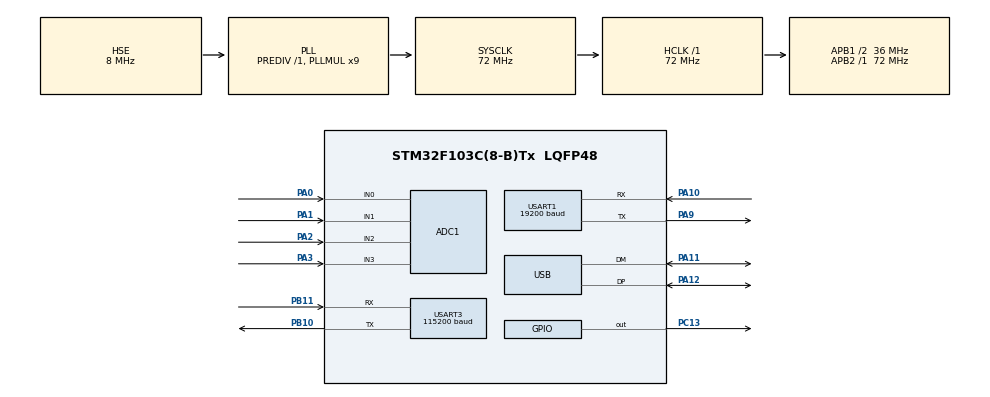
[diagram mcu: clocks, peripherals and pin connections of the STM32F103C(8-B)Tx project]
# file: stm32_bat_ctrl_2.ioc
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ADC1.Channel-0\#ChannelRegularConversion=ADC_CHANNEL_0
ADC1.Channel-1\#ChannelRegularConversion=ADC_CHANNEL_1
ADC1.Channel-2\#ChannelRegularConversion=ADC_CHANNEL_2
ADC1.Channel-3\#ChannelRegularConversion=ADC_CHANNEL_3
ADC1.EnableAnalogWatchDog=false
ADC1.ExternalTrigConv=ADC_SOFTWARE_START
ADC1.NbrOfConversion=4
ADC1.NbrOfConversionFlag=1
ADC1.Rank-0\#ChannelRegularConversion=1
ADC1.Rank-1\#ChannelRegularConversion=2
ADC1.Rank-2\#ChannelRegularConversion=3
ADC1.Rank-3\#ChannelRegularConversion=4
ADC1.SamplingTime-0\#ChannelRegularConversion=ADC_SAMPLETIME_1CYCLE_5
ADC1.SamplingTime-1\#ChannelRegularConversion=ADC_SAMPLETIME_1CYCLE_5
ADC1.SamplingTime-2\#ChannelRegularConversion=ADC_SAMPLETIME_1CYCLE_5
ADC1.SamplingTime-3\#ChannelRegularConversion=ADC_SAMPLETIME_1CYCLE_5
ADC1.master=1
Dma.ADC1.0.Direction=DMA_PERIPH_TO_MEMORY
Dma.ADC1.0.Instance=DMA1_Channel1
Dma.ADC1.0.MemDataAlignment=DMA_MDATAALIGN_HALFWORD
Dma.ADC1.0.MemInc=DMA_MINC_ENABLE
Dma.ADC1.0.Mode=DMA_CIRCULAR
Dma.ADC1.0.PeriphDataAlignment=DMA_PDATAALIGN_HALFWORD
Dma.ADC1.0.PeriphInc=DMA_PINC_DISABLE
Dma.ADC1.0.Priority=DMA_PRIORITY_LOW
Dma.Request0=ADC1
Dma.Request1=USART1_RX
Dma.Request2=USART1_TX
Dma.Request3=USART3_RX
Dma.Request4=USART3_TX
Dma.USART1_RX.1.Direction=DMA_PERIPH_TO_MEMORY
Dma.USART1_RX.1.Instance=DMA1_Channel5
Dma.USART1_RX.1.MemDataAlignment=DMA_MDATAALIGN_BYTE
Dma.USART1_RX.1.MemInc=DMA_MINC_ENABLE
Dma.USART1_RX.1.Mode=DMA_NORMAL
Dma.USART1_RX.1.PeriphDataAlignment=DMA_PDATAALIGN_BYTE
Dma.USART1_RX.1.PeriphInc=DMA_PINC_DISABLE
Dma.USART1_RX.1.Priority=DMA_PRIORITY_LOW
Dma.USART1_TX.2.Direction=DMA_MEMORY_TO_PERIPH
Dma.USART1_TX.2.Instance=DMA1_Channel4
Dma.USART1_TX.2.MemDataAlignment=DMA_MDATAALIGN_BYTE
Dma.USART1_TX.2.MemInc=DMA_MINC_ENABLE
Dma.USART1_TX.2.Mode=DMA_NORMAL
Dma.USART1_TX.2.PeriphDataAlignment=DMA_PDATAALIGN_BYTE
Dma.USART1_TX.2.PeriphInc=DMA_PINC_DISABLE
Dma.USART1_TX.2.Priority=DMA_PRIORITY_LOW
Dma.USART3_RX.3.Direction=DMA_PERIPH_TO_MEMORY
Dma.USART3_RX.3.Instance=DMA1_Channel3
Dma.USART3_RX.3.MemDataAlignment=DMA_MDATAALIGN_BYTE
Dma.USART3_RX.3.MemInc=DMA_MINC_ENABLE
Dma.USART3_RX.3.Mode=DMA_NORMAL
Dma.USART3_RX.3.PeriphDataAlignment=DMA_PDATAALIGN_BYTE
Dma.USART3_RX.3.PeriphInc=DMA_PINC_DISABLE
Dma.USART3_RX.3.Priority=DMA_PRIORITY_LOW
Dma.USART3_TX.4.Direction=DMA_MEMORY_TO_PERIPH
Dma.USART3_TX.4.Instance=DMA1_Channel2
Dma.USART3_TX.4.MemDataAlignment=DMA_MDATAALIGN_BYTE
Dma.USART3_TX.4.MemInc=DMA_MINC_ENABLE
Dma.USART3_TX.4.Mode=DMA_NORMAL
Dma.USART3_TX.4.PeriphDataAlignment=DMA_PDATAALIGN_BYTE
Dma.USART3_TX.4.PeriphInc=DMA_PINC_DISABLE
Dma.USART3_TX.4.Priority=DMA_PRIORITY_LOW
Mcu.Family=STM32F1
Mcu.Name=STM32F103C(8-B)Tx
Mcu.Package=LQFP48
NVIC.DMA1_Channel1_IRQn=true\:0\:0\:false\:false\:true\:false\:true\:true
NVIC.DMA1_Channel2_IRQn=true\:0\:0\:false\:false\:true\:false\:true\:true
NVIC.DMA1_Channel3_IRQn=true\:0\:0\:false\:false\:true\:false\:true\:true
NVIC.DMA1_Channel4_IRQn=true\:0\:0\:false\:false\:true\:false\:true\:true
NVIC.DMA1_Channel5_IRQn=true\:0\:0\:false\:false\:true\:false\:true\:true
NVIC.PriorityGroup=NVIC_PRIORITYGROUP_4
NVIC.TIM2_IRQn=true\:0\:0\:false\:false\:true\:true\:true\:true
NVIC.USB_LP_CAN1_RX0_IRQn=true\:0\:0\:false\:false\:true\:false\:true\:true
PA0-WKUP.Signal=ADCx_IN0
PA1.Signal=ADCx_IN1
PA10.Mode=Asynchronous
PA10.Signal=USART1_RX
PA11.Mode=Device
PA11.Signal=USB_DM
PA12.Mode=Device
PA12.Signal=USB_DP
PA13.Mode=Serial_Wire
PA13.Signal=SYS_JTMS-SWDIO
PA14.Mode=Serial_Wire
PA14.Signal=SYS_JTCK-SWCLK
PA2.Signal=ADCx_IN2
PA3.Signal=ADCx_IN3
PA9.Mode=Asynchronous
PA9.Signal=USART1_TX
PB10.Mode=Asynchronous
PB10.Signal=USART3_TX
PB11.Mode=Asynchronous
PB11.Signal=USART3_RX
PC13-TAMPER-RTC.Signal=GPIO_Output
PD0-OSC_IN.Mode=HSE-External-Oscillator
PD0-OSC_IN.Signal=RCC_OSC_IN
PD1-OSC_OUT.Mode=HSE-External-Oscillator
PD1-OSC_OUT.Signal=RCC_OSC_OUT
ProjectManager.HeapSize=0x200
ProjectManager.StackSize=0x400
ProjectManager.TargetToolchain=STM32CubeIDE
RCC.ADCPresc=RCC_ADCPCLK2_DIV6
RCC.AHBFreq_Value=72000000
RCC.APB1CLKDivider=RCC_HCLK_DIV2
RCC.APB1Freq_Value=36000000
RCC.APB1TimFreq_Value=72000000
RCC.APB2Freq_Value=72000000
RCC.APB2TimFreq_Value=72000000
RCC.HCLKFreq_Value=72000000
RCC.PLLMUL=RCC_PLL_MUL9
RCC.PLLSourceVirtual=RCC_PLLSOURCE_HSE
RCC.SYSCLKFreq_VALUE=72000000
RCC.SYSCLKSource=RCC_SYSCLKSOURCE_PLLCLK
RCC.USBFreq_Value=48000000
RCC.USBPrescaler=RCC_USBCLKSOURCE_PLL_DIV1_5
SH.ADCx_IN0.0=ADC1_IN0,IN0
SH.ADCx_IN1.0=ADC1_IN1,IN1
SH.ADCx_IN2.0=ADC1_IN2,IN2
SH.ADCx_IN3.0=ADC1_IN3,IN3
TIM2.Period=7200
TIM2.Prescaler=10000
USART1.BaudRate=19200
USART1.VirtualMode=VM_ASYNC
USART3.BaudRate=115200
USART3.VirtualMode=VM_ASYNC
USB_DEVICE.CLASS_NAME_FS=CDC
USB_DEVICE.VirtualMode=Cdc
USB_DEVICE.VirtualModeFS=Cdc_FS
VP_CRC_VS_CRC.Mode=CRC_Activate
VP_TIM2_VS_ClockSourceINT.Mode=Internal
VP_USB_DEVICE_VS_USB_DEVICE_CDC_FS.Mode=CDC_FS
board=custom

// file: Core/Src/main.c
/* USER CODE BEGIN Header */
/**
  ******************************************************************************
  * @file           : main.c
  * @brief          : Main program body
  ******************************************************************************
  * @attention
  *
  * Copyright (c) 2022 STMicroelectronics.
  * All rights reserved.
  *
  * This software is licensed under terms that can be found in the LICENSE file
  * in the root directory of this software component.
  * If no LICENSE file comes with this software, it is provided AS-IS.
  *
  ******************************************************************************
  */
/* USER CODE END Header */
#include "main.h"
#include "adc.h"
#include "crc.h"
#include "dma.h"
#include "tim.h"
#include "usart.h"
#include "usb_device.h"
#include "gpio.h"

/* USER CODE BEGIN Includes */
#include "usbd_cdc_if.h"
/* USER CODE END Includes */

/* USER CODE BEGIN PD */
#define MIN 1187
#define MAX 2654
/* USER CODE END PD */

/* USER CODE BEGIN PV */
uint8_t serial_update;
uint16_t temp_in[4];
uint16_t temp_out[4];
uint8_t serial_out[154 + 8 + 8 + 4];
uint8_t serial_in[154 + 8 + 4];
uint16_t TEMP_TABLE[] = {
        1549, 1585, 1621, 1658, 1694, 1730, 1767, 1803, 1840, 1876, 1913, 1949, 1986, 2022, 2059, 2096,
        2132, 2169, 2206, 2242, 2279, 2316, 2353, 2390, 2426, 2463, 2500, 2537, 2574, 2611, 2648, 2685,
        2722, 2759, 2796, 2834, 2871, 2908, 2945, 2982, 3020, 3057, 3094, 3131, 3167, 3203, 3239, 3275,
        3311, 3347, 3383, 3419, 3456, 3492, 3528, 3564, 3600, 3637, 3673, 3709, 3746, 3782, 3818, 3855,
        3891, 3928, 3964, 4001, 4037, 4074, 4111, 4147, 4184, 4220, 4257, 4294, 4331, 4367, 4404, 4441,
        4478, 4515, 4552, 4589, 4626, 4663, 4700, 4737, 4774, 4811, 4848, 4885, 4922, 4960, 4997, 5034,
        5071, 5109, 5146, 5183, 5221, 5258, 5296, 5333, 5371, 5408, 5446, 5483, 5521, 5558, 5596, 5634,
        5671, 5709, 5747, 5785, 5823, 5860, 5898, 5936, 5974, 6012, 6050, 6088, 6126, 6164, 6202, 6240,
        6275, 6310, 6345, 6380, 6415, 6450, 6485, 6519, 6554, 6590, 6625, 6660, 6695, 6730, 6765, 6800,
        6835, 6871, 6906, 6941, 6976, 7012, 7047, 7083, 7118, 7153, 7189, 7224, 7260, 7295, 7331, 7367,
        7402, 7438, 7473, 7509, 7545, 7581, 7616, 7652, 7688, 7724, 7760, 7796, 7832, 7867, 7903, 7939,
        7976, 8012, 8048, 8084, 8120, 8156, 8192, 8228, 8265, 8301, 8337, 8374, 8410, 8446, 8483, 8519,
        8556, 8592, 8629, 8665, 8702, 8738, 8775, 8812, 8848, 8885, 8922, 8958, 8995, 9032, 9069, 9106,
        9143, 9180, 9217, 9253, 9290, 9328, 9364, 9400, 9435, 9470, 9505, 9541, 9576, 9612, 9647, 9682,
        9718, 9753, 9789, 9824, 9860, 9896, 9931, 9967, 10003, 10038, 10074, 10110, 10146, 10181, 10217, 10253,
        10289, 10325, 10361, 10397, 10433, 10469, 10505, 10541, 10577, 10613, 10649, 10686, 10722, 10758, 10794, 10831,
        10867, 10903, 10940, 10976, 11013, 11049, 11085, 11122, 11159, 11195, 11232, 11268, 11305, 11342, 11378, 11415,
        11452, 11489, 11526, 11562, 11599, 11636, 11673, 11710, 11747, 11784, 11821, 11858, 11895, 11932, 11970, 12007,
        12044, 12081, 12119, 12156, 12193, 12231, 12268, 12305, 12343, 12380, 12418, 12455, 12492, 12528, 12564, 12600,
        12636, 12672, 12708, 12744, 12780, 12816, 12852, 12888, 12924, 12960, 12996, 13032, 13069, 13105, 13141, 13177,
        13214, 13250, 13286, 13323, 13359, 13396, 13432, 13469, 13505, 13542, 13579, 13615, 13652, 13689, 13725, 13762,
        13799, 13836, 13872, 13909, 13946, 13983, 14020, 14057, 14094, 14131, 14168, 14205, 14242, 14280, 14317, 14354,
        14391, 14428, 14466, 14503, 14540, 14578, 14615, 14653, 14690, 14728, 14765, 14803, 14840, 14878, 14916, 14953,
        14991, 15029, 15067, 15104, 15142, 15180, 15218, 15256, 15294, 15332, 15370, 15408, 15446, 15484, 15522, 15560,
        15599, 15634, 15670, 15705, 15741, 15776, 15812, 15847, 15883, 15919, 15954, 15990, 16026, 16062, 16097, 16133,
        16169, 16205, 16241, 16277, 16313, 16349, 16385, 16421, 16457, 16493, 16529, 16565, 16601, 16637, 16674, 16710,
        16746, 16783, 16819, 16855, 16892, 16928, 16965, 17001, 17038, 17074, 17111, 17148, 17184, 17221, 17258, 17294,
        17331, 17368, 17405, 17442, 17478, 17515, 17552, 17589, 17626, 17663, 17700, 17738, 17775, 17812, 17849, 17886,
        17923, 17961, 17998, 18035, 18073, 18110, 18148, 18185, 18223, 18260, 18298, 18335, 18373, 18410, 18448, 18486,
        18524, 18561, 18599, 18637, 18675, 18713, 18750, 18786, 18822, 18859, 18895, 18932, 18968, 19005, 19041, 19078,
        19114, 19151, 19188, 19224, 19261, 19298, 19335, 19372, 19409, 19445, 19482, 19519, 19556, 19593, 19630, 19667,
        19705, 19742, 19779, 19816, 19853, 19891, 19928, 19965, 20003, 20040, 20077, 20115, 20152, 20190, 20227, 20265,
        20303, 20340, 20378, 20416, 20453, 20491, 20529, 20567, 20605, 20642, 20680, 20718, 20756, 20794, 20832, 20870,
        20909, 20947, 20985, 21023, 21061, 21100, 21138, 21176, 21215, 21253, 21291, 21330, 21368, 21407, 21446, 21484,
        21523, 21561, 21600, 21639, 21678, 21716, 21755, 21794, 21833, 21870, 21907, 21944, 21981, 22018, 22055, 22092,
        22129, 22166, 22204, 22241, 22278, 22315, 22352, 22390, 22427, 22464, 22502, 22539, 22577, 22614, 22652, 22689,
        22727, 22764, 22802, 22840, 22877, 22915, 22953, 22991, 23029, 23066, 23104, 23142, 23180, 23218, 23256, 23294,
        23333, 23371, 23409, 23447, 23485, 23524, 23562, 23600, 23639, 23677, 23715, 23754, 23792, 23831, 23869, 23908,
        23947, 23985, 24024, 24063, 24102, 24140, 24179, 24218, 24257, 24296, 24335, 24374, 24413, 24452, 24491, 24530,
        24569, 24609, 24648, 24687, 24727, 24766, 24805, 24845, 24884, 24924, 24963, 25001, 25039, 25077, 25116, 25154,
        25192, 25230, 25268, 25307, 25345, 25383, 25422, 25460, 25499, 25537, 25576, 25614, 25653, 25692, 25730, 25769,
        25808, 25847, 25885, 25924, 25963, 26002, 26041, 26080, 26119, 26158, 26197, 26236, 26276, 26315, 26354, 26393,
        26433, 26472, 26511, 26550, 26588, 26627, 26666, 26704, 26743, 26781, 26820, 26859, 26897, 26936, 26975, 27014,
        27053, 27092, 27131, 27170, 27209, 27248, 27287, 27326, 27365, 27404, 27443, 27483, 27522, 27561, 27601, 27640,
        27680, 27719, 27759, 27798, 27838, 27877, 27917, 27957, 27996, 28036, 28076, 28115, 28154, 28193, 28232, 28271,
        28310, 28349, 28388, 28427, 28467, 28506, 28545, 28584, 28624, 28663, 28702, 28742, 28781, 28821, 28860, 28900,
        28940, 28979, 29019, 29059, 29098, 29138, 29178, 29218, 29258, 29298, 29338, 29378, 29418, 29458, 29498, 29538,
        29579, 29619, 29659, 29699, 29740, 29780, 29821, 29861, 29902, 29942, 29983, 30023, 30064, 30105, 30146, 30186,
        30227, 30268, 30309, 30350, 30391, 30432, 30473, 30514, 30555, 30596, 30637, 30679, 30720, 30761, 30803, 30844,
        30885, 30927, 30968, 31010, 31052, 31093, 31135, 31177, 31218, 31257, 31296, 31336, 31375, 31415, 31455, 31494,
        31534, 31573, 31613, 31653, 31693, 31733, 31772, 31812, 31852, 31892, 31932, 31972, 32012, 32053, 32093, 32133,
        32173, 32214, 32254, 32294, 32335, 32375, 32416, 32456, 32497, 32537, 32578, 32619, 32659, 32700, 32741, 32782,
        32823, 32864, 32905, 32946, 32987, 33028, 33069, 33110, 33151, 33192, 33234, 33275, 33316, 33358, 33399, 33441,
        33482, 33524, 33565, 33607, 33649, 33690, 33732, 33774, 33816, 33858, 33900, 33942, 33984, 34026, 34068, 34110,
        34152, 34194, 34236, 34279, 34321, 34362, 34403, 34444, 34485, 34526, 34568, 34609, 34650, 34691, 34733, 34774,
        34815, 34857, 34898, 34940, 34982, 35023, 35065, 35106, 35148, 35190, 35232, 35274, 35316, 35358, 35400, 35442,
        35484, 35526, 35568, 35610, 35652, 35695, 35737, 35779, 35822, 35864, 35907, 35949, 35992, 36034, 36077, 36120,
        36162, 36205, 36248, 36291, 36334, 36377, 36420, 36463, 36506, 36549, 36592, 36636, 36679, 36722, 36765, 36809,
        36852, 36896, 36939, 36983, 37027, 37070, 37114, 37158, 37201, 37245, 37289, 37333, 37377, 37421, 37465, 37507,
        37550, 37593, 37636, 37678, 37721, 37764, 37807, 37850, 37893, 37936, 37980, 38023, 38066, 38109, 38153, 38196,
        38240, 38283, 38327, 38370, 38414, 38457, 38501, 38545, 38589, 38632, 38676, 38720, 38764, 38808, 38852, 38896,
        38941, 38985, 39029, 39073, 39118, 39162, 39206, 39251, 39295, 39340, 39385, 39429, 39474, 39519, 39564, 39608,
        39653, 39698, 39743, 39788, 39833, 39878, 39924, 39969, 40014, 40059, 40105, 40150, 40196, 40241, 40287, 40332,
        40378, 40424, 40470, 40515, 40561, 40605, 40649, 40692, 40736, 40780, 40824, 40867, 40911, 40955, 40999, 41043,
        41087, 41131, 41175, 41220, 41264, 41308, 41353, 41397, 41441, 41486, 41530, 41575, 41620, 41664, 41709, 41754,
        41799, 41844, 41888, 41933, 41978, 42023, 42069, 42114, 42159, 42204, 42249, 42295, 42340, 42386, 42431, 42477,
        42522, 42568, 42614, 42659, 42705, 42751, 42797, 42843, 42889, 42935, 42981, 43027, 43073, 43120, 43166, 43212,
        43259, 43305, 43352, 43398, 43445, 43491, 43538, 43585, 43632, 43679, 43724, 43770, 43816, 43861, 43907, 43953,
        43998, 44044, 44090, 44136, 44182, 44228, 44274, 44321, 44367, 44413, 44459, 44506, 44552, 44599, 44645, 44692,
        44738, 44785, 44832, 44879, 44925, 44972, 45019, 45066, 45113, 45160, 45208, 45255, 45302, 45349, 45397, 45444,
        45492, 45539, 45587, 45634, 45682, 45730, 45777, 45825, 45873, 45921, 45969, 46017, 46065, 46113, 46162, 46210,
        46258, 46307, 46355, 46404, 46452, 46501, 46549, 46598, 46647, 46696, 46745, 46794, 46841, 46888, 46936, 46983,
        47030, 47078, 47125, 47173, 47220, 47268, 47315, 47363, 47411, 47459, 47507, 47555, 47603, 47651, 47699, 47747,
        47795, 47843, 47892, 47940, 47989, 48037, 48086, 48134, 48183, 48232, 48280, 48329, 48378, 48427, 48476, 48525,
        48574, 48623, 48672, 48722, 48771, 48821, 48870, 48919, 48969, 49019, 49068, 49118, 49168, 49218, 49268, 49318,
        49368, 49418, 49468, 49518, 49568, 49619, 49669, 49720, 49770, 49821, 49871, 49922, 49971, 50020, 50069, 50118,
        50167, 50216, 50266, 50315, 50364, 50414, 50463, 50513, 50562, 50612, 50662, 50711, 50761, 50811, 50861, 50911,
        50961, 51011, 51061, 51112, 51162, 51212, 51263, 51313, 51364, 51414, 51465, 51516, 51566, 51617, 51668, 51719,
        51770, 51821, 51872, 51924, 51975, 52026, 52078, 52129, 52181, 52232, 52284, 52336, 52387, 52439, 52491, 52543,
        52595, 52647, 52699, 52751, 52804, 52856, 52908, 52961, 53013, 53066, 53118, 53170, 53223, 53275, 53328, 53380,
        53433, 53485, 53538, 53591, 53644, 53696, 53749, 53802, 53855, 53909, 53962, 54015, 54068, 54122, 54175, 54229,
        54283, 54336, 54390, 54444, 54498, 54552, 54606, 54660, 54714, 54768, 54822, 54877, 54931, 54986, 55040, 55095,
        55150, 55204, 55259, 55314, 55369, 55424, 55479, 55534, 55590, 55645, 55700, 55756, 55811, 55867, 55923, 55978,
        56034, 56090, 56146, 56202, 56258, 56314, 56370, 56427, 56483, 56540, 56596, 56653, 56709, 56766, 56823, 56880,
        56937, 56994, 57051, 57108, 57165, 57223, 57280, 57338, 57395, 57453, 57510, 57568, 57626, 57684, 57742, 57802,
        57863, 57923, 57984, 58044, 58105, 58166, 58226, 58287, 58348, 58409, 58470, 58532, 58593, 58654, 58716, 58777,
        58839, 58901, 58962, 59024, 59086, 59148, 59210, 59272, 59337, 59402, 59468, 59533, 59599, 59665, 59730, 59796,
        59862, 59928, 59995, 60061, 60127, 60194, 60260, 60327, 60394, 60461, 60527, 60594, 60661, 60729, 60796, 60863,
        60931, 60998, 61066, 61134, 61201, 61269, 61337, 61405, 61473, 61542, 61610, 61678, 61747, 61816, 61884, 61953,
        62022, 62091, 62160, 62229, 62299, 62368, 62441, 62522, 62603, 62684, 62765, 62846, 62927, 63009, 63090, 63172,
        63254, 63335, 63417, 63499, 63582, 63664, 63746, 63829, 63912, 63994, 64077, 64160, 64243, 64326, 64410, 64493,
        64577, 64660, 64744, 64828, 64912, 64996, 65080, 65165, 65249, 65334, 65419, 65503
};

/* USER CODE END PV */

void SystemClock_Config(void);

/* USER CODE BEGIN 0 */
void crc_init(void) {
    RCC->AHBENR |= RCC_AHBENR_CRCEN;  // enable clock for CRC
    CRC->CR |= CRC_CR_RESET;   // Reset calculation
}

void serial_transmit() {
    HAL_GPIO_TogglePin(GPIOC, GPIO_PIN_13);
    crc_init();
    int i;
    CRC->CR = 1;
    for (i = 0; i < (154 + 8 + 8); i++) {
        CRC->DR = serial_out[i];
    }
    uint32_t crc[1] = {CRC->DR};
    memcpy(serial_out + 8 + 154 + 8, crc, 4);

    if (!serial_update) memset(serial_out + 8, 0x00, 154 + 8);
    HAL_UART_Transmit(&huart1, serial_out, 154 + 8 + 8 + 4, 100);
    serial_update = 0;
}

void HAL_UART_RxCpltCallback(UART_HandleTypeDef *huart){
    if (huart == &huart3) {
        crc_init();
        uint8_t i;
        CRC->CR = 1;
        for (i = 0; i < (154 + 8); i++) {
            CRC->DR = serial_in[i];
        }
        uint32_t crc[1] = {CRC->DR};

        if (memcmp(crc, serial_in + 154 + 8, 4) == 0) {
            memcpy(serial_out + 8, serial_in, 154 + 8);
        } else {
            memset(serial_out + 8, 0xFF, 154 + 8);
        }

        HAL_UART_Receive_DMA(&huart3, serial_in, 154 + 8 + 4);
        serial_update = 1;
    }
}

void HAL_ADC_ConvCpltCallback(ADC_HandleTypeDef* hadc) {

    //1864
    //1863 1860 1873
    if (temp_in[0] > MAX) temp_out[0] = 0xFFFF;
    else if (temp_in[0] < MIN) temp_out[0] = 0x0000;
    else temp_out[0] =  TEMP_TABLE[temp_in[0] - MIN];

    if (temp_in[1] > MAX) temp_out[1] = 0xFFFF;
    else if (temp_in[1] < MIN) temp_out[1] = 0x0000;
    else temp_out[1] =  TEMP_TABLE[temp_in[1] - MIN];

    if (temp_in[2] > MAX) temp_out[2] = 0xFFFF;
    else if (temp_in[2] < MIN) temp_out[2] = 0x0000;
    else temp_out[2] =  TEMP_TABLE[temp_in[2] - MIN];

    if (temp_in[3] > MAX) temp_out[3] = 0xFFFF;
    else if (temp_in[3] < MIN) temp_out[3] = 0x0000;
    else temp_out[3] =  TEMP_TABLE[temp_in[3] - MIN];
    /*float temp_out[4];
    temp_out[0] =  (float)TEMP_TABLE[temp_in[0] - MIN] / (65535.0f / 210.0f) - 60;
    temp_out[1] =  (float)TEMP_TABLE[temp_in[1] - MIN] / (65535.0f / 210.0f) - 60;
    temp_out[2] =  (float)TEMP_TABLE[temp_in[2] - MIN] / (65535.0f / 210.0f) - 60;
    temp_out[3] =  (float)TEMP_TABLE[temp_in[3] - MIN] / (65535.0f / 210.0f) - 60;*/

    //int l = sprintf(c, "%2.2f %2.2f %2.2f %2.2f\n", temp_out[0], temp_out[1], temp_out[2], temp_out[3]);
    //int l = sprintf(c, "%4d %4d %4d\n", temp_in[0], temp_in[1], temp_in[2]);
    //CDC_Transmit_FS(c, l);
    memcpy(serial_out, temp_out, 8);
    //HAL_UART_Transmit(&huart1, serial_out, 154 + 8 + 8 + 4, 100);

    serial_transmit();

    /*uint8_t c[50];
    int l = sprintf(c, "%4d %4d %4d %4d %4d %4d %4d %4d %4d\n", ((uint16_t)serial_out[1] << 8) | serial_out[0],
                    ((uint16_t)serial_out[3] << 8) | serial_out[2],
                    ((uint16_t)serial_out[5] << 8) | serial_out[4],
                    ((uint16_t)serial_out[7] << 8) | serial_out[6],
                    ((uint16_t)serial_out[9] << 8) | serial_out[8],
                    ((uint16_t)serial_out[11] << 8) | serial_out[10],
                    ((uint16_t)serial_out[13] << 8) | serial_out[12],
                    ((uint16_t)serial_out[15] << 8) | serial_out[14],
                    serial_out[16]);
    CDC_Transmit_FS(c, l);*/
}

void HAL_TIM_PeriodElapsedCallback(TIM_HandleTypeDef* htim)
{
    HAL_ADC_Start_DMA(&hadc1, (uint32_t *) temp_in, 4);
    //HAL_GPIO_TogglePin(GPIOC, GPIO_PIN_13);
}
/* USER CODE END 0 */

int main(void)
{

    /* MCU Configuration--------------------------------------------------------*/

    /* Reset of all peripherals, Initializes the Flash interface and the Systick. */
    HAL_Init();

    /* Configure the system clock */
    SystemClock_Config();

    /* Initialize all configured peripherals */
    MX_GPIO_Init();
    MX_DMA_Init();
    MX_USART1_UART_Init();
    MX_ADC1_Init();
    MX_USART3_UART_Init();
    MX_USB_DEVICE_Init();
    MX_TIM2_Init();
    MX_CRC_Init();
    /* USER CODE BEGIN 2 */
    serial_update = 0;
    HAL_ADCEx_Calibration_Start(&hadc1);
    HAL_GPIO_WritePin(GPIOC, GPIO_PIN_13, GPIO_PIN_RESET);
    HAL_TIM_Base_Start_IT(&htim2);
    HAL_UART_Receive_DMA(&huart3, serial_in, 154 + 8 + 4);

    /* USER CODE END 2 */

    /* Infinite loop */
    while (1)
    {

    }
}

void SystemClock_Config(void)
{
    RCC_OscInitTypeDef RCC_OscInitStruct = {0};
    RCC_ClkInitTypeDef RCC_ClkInitStruct = {0};
    RCC_PeriphCLKInitTypeDef PeriphClkInit = {0};

    /** Initializes the RCC Oscillators according to the specified parameters
    * in the RCC_OscInitTypeDef structure.
    */
    RCC_OscInitStruct.OscillatorType = RCC_OSCILLATORTYPE_HSE;
    RCC_OscInitStruct.HSEState = RCC_HSE_ON;
    RCC_OscInitStruct.HSEPredivValue = RCC_HSE_PREDIV_DIV1;
    RCC_OscInitStruct.HSIState = RCC_HSI_ON;
    RCC_OscInitStruct.PLL.PLLState = RCC_PLL_ON;
    RCC_OscInitStruct.PLL.PLLSource = RCC_PLLSOURCE_HSE;
    RCC_OscInitStruct.PLL.PLLMUL = RCC_PLL_MUL9;
    if (HAL_RCC_OscConfig(&RCC_OscInitStruct) != HAL_OK)
    {
        Error_Handler();
    }

    /** Initializes the CPU, AHB and APB buses clocks
    */
    RCC_ClkInitStruct.ClockType = RCC_CLOCKTYPE_HCLK|RCC_CLOCKTYPE_SYSCLK
                                  |RCC_CLOCKTYPE_PCLK1|RCC_CLOCKTYPE_PCLK2;
    RCC_ClkInitStruct.SYSCLKSource = RCC_SYSCLKSOURCE_PLLCLK;
    RCC_ClkInitStruct.AHBCLKDivider = RCC_SYSCLK_DIV1;
    RCC_ClkInitStruct.APB1CLKDivider = RCC_HCLK_DIV2;
    RCC_ClkInitStruct.APB2CLKDivider = RCC_HCLK_DIV1;

    if (HAL_RCC_ClockConfig(&RCC_ClkInitStruct, FLASH_LATENCY_2) != HAL_OK)
    {
        Error_Handler();
    }
    PeriphClkInit.PeriphClockSelection = RCC_PERIPHCLK_ADC|RCC_PERIPHCLK_USB;
    PeriphClkInit.AdcClockSelection = RCC_ADCPCLK2_DIV6;
    PeriphClkInit.UsbClockSelection = RCC_USBCLKSOURCE_PLL_DIV1_5;
    if (HAL_RCCEx_PeriphCLKConfig(&PeriphClkInit) != HAL_OK)
    {
        Error_Handler();
    }
}

void Error_Handler(void)
{
    __disable_irq();
    while (1)
    {
    }
}
